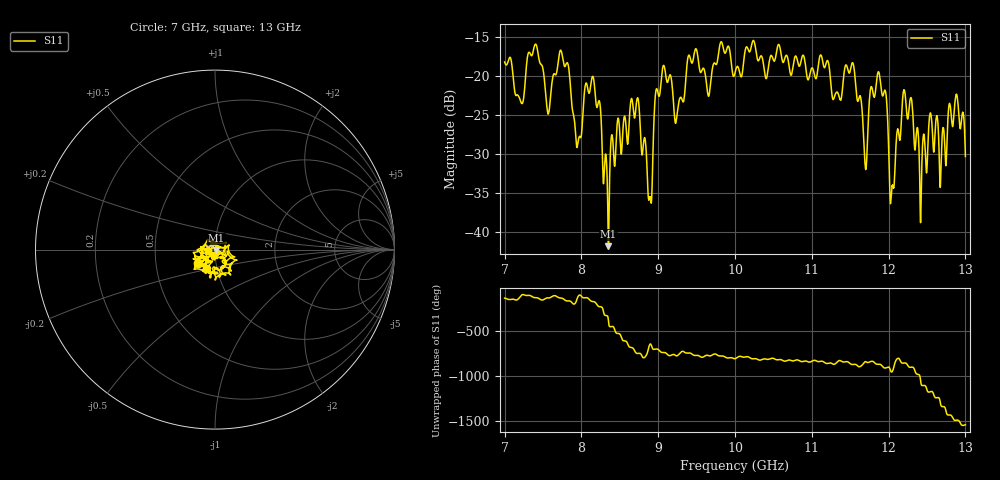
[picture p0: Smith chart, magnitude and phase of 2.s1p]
[Version] 2.0
! Rohde & Schwarz Vector Network Analyzer
! Rohde-Schwarz,ZNL20-2Port,1323001220200009,1.71.1.10-23.02.1.238
! Trace info:
! Nominal Param -> Actual Exported Buffer
! S11 -> S22
! Created: GMT+3 2024-09-24 16:36:55
# Hz S DB R 50
[Number of Ports] 1
! freq[Hz]  S11[mag dB]  S11[ang]
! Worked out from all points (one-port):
!   6001 points, 7 GHz to 13 GHz, reference 50 ohm
!   lowest |S11| = -41.8 dB at 8.352 GHz (marker M1), VSWR 1.02, Z = 50.7 - j0.448 ohm
!   |S11| at or under -10 dB: start of sweep to end of sweep
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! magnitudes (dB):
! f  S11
! 7 GHz  -18.2
! 7.222 GHz  -23.5
! 7.407 GHz  -15.9
! 7.568 GHz  -24.9
! 7.75 GHz  -17.3
! 7.954 GHz  -28.6
! 8.153 GHz  -20.1
! 8.352 GHz  -41.8
! 8.5 GHz  -27.3
! 8.733 GHz  -22.8
! 8.892 GHz  -35.4
! 8.967 GHz  -22.1
! 9.062 GHz  -18.8
! 9.25 GHz  -24.6
! 9.486 GHz  -16.5
! 9.653 GHz  -22.6
! 10 GHz  -19.6
! 10.75 GHz  -19.1
! 11.5 GHz  -19.3
! 11.7 GHz  -31.9
! 11.88 GHz  -19.6
! 11.96 GHz  -22.3
! 12.04 GHz  -34.4
! 12.19 GHz  -22.0
! 12.25 GHz  -25.5
! 12.42 GHz  -38.5
! 12.88 GHz  -22.3
! 13 GHz  -30.3
